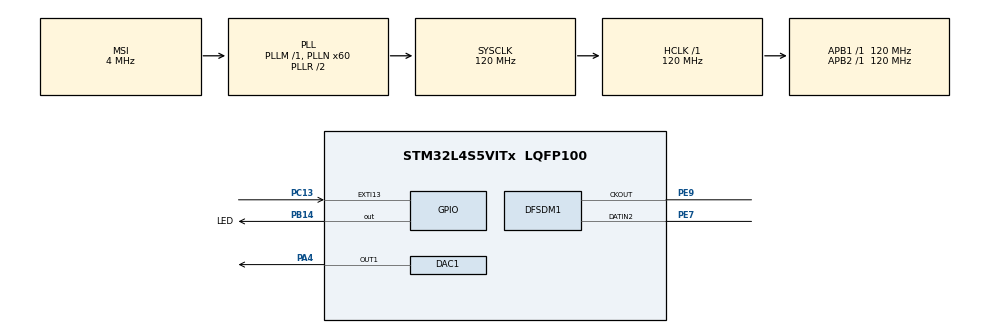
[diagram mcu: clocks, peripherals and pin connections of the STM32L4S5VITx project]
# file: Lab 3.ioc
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DAC1.DAC_Trigger-DAC_OUT1_ExtAndInt=DAC_TRIGGER_T2_TRGO
DFSDM1.Divider=40
DFSDM1.DmaMode_reg_FIL0=ENABLE
DFSDM1.FastMode_reg_FIL0=ENABLE
DFSDM1.Filter_regChannel_FIL0=DFSDM_CHANNEL_2
DFSDM1.Fosr_FIL0=256
DFSDM1.SincOrder_FIL0=DFSDM_FILTER_SINC3_ORDER
Dma.DAC1_CH1.0.Direction=DMA_MEMORY_TO_PERIPH
Dma.DAC1_CH1.0.EventEnable=DISABLE
Dma.DAC1_CH1.0.Instance=DMA1_Channel1
Dma.DAC1_CH1.0.MemDataAlignment=DMA_MDATAALIGN_WORD
Dma.DAC1_CH1.0.MemInc=DMA_MINC_ENABLE
Dma.DAC1_CH1.0.Mode=DMA_CIRCULAR
Dma.DAC1_CH1.0.PeriphDataAlignment=DMA_PDATAALIGN_HALFWORD
Dma.DAC1_CH1.0.PeriphInc=DMA_PINC_DISABLE
Dma.DAC1_CH1.0.Polarity=HAL_DMAMUX_REQUEST_GEN_RISING
Dma.DAC1_CH1.0.Priority=DMA_PRIORITY_LOW
Dma.DAC1_CH1.0.RequestNumber=1
Dma.DAC1_CH1.0.SignalID=NONE
Dma.DAC1_CH1.0.SyncEnable=DISABLE
Dma.DAC1_CH1.0.SyncPolarity=HAL_DMAMUX_SYNC_NO_EVENT
Dma.DAC1_CH1.0.SyncRequestNumber=1
Dma.DAC1_CH1.0.SyncSignalID=NONE
Dma.DFSDM1_FLT0.1.Direction=DMA_PERIPH_TO_MEMORY
Dma.DFSDM1_FLT0.1.EventEnable=DISABLE
Dma.DFSDM1_FLT0.1.Instance=DMA1_Channel2
Dma.DFSDM1_FLT0.1.MemDataAlignment=DMA_MDATAALIGN_WORD
Dma.DFSDM1_FLT0.1.MemInc=DMA_MINC_ENABLE
Dma.DFSDM1_FLT0.1.Mode=DMA_NORMAL
Dma.DFSDM1_FLT0.1.PeriphDataAlignment=DMA_PDATAALIGN_WORD
Dma.DFSDM1_FLT0.1.PeriphInc=DMA_PINC_DISABLE
Dma.DFSDM1_FLT0.1.Polarity=HAL_DMAMUX_REQUEST_GEN_RISING
Dma.DFSDM1_FLT0.1.Priority=DMA_PRIORITY_LOW
Dma.DFSDM1_FLT0.1.RequestNumber=1
Dma.DFSDM1_FLT0.1.SignalID=NONE
Dma.DFSDM1_FLT0.1.SyncEnable=DISABLE
Dma.DFSDM1_FLT0.1.SyncPolarity=HAL_DMAMUX_SYNC_NO_EVENT
Dma.DFSDM1_FLT0.1.SyncRequestNumber=1
Dma.DFSDM1_FLT0.1.SyncSignalID=NONE
Dma.Request0=DAC1_CH1
Dma.Request1=DFSDM1_FLT0
Mcu.Family=STM32L4
Mcu.Name=STM32L4S5VITx
Mcu.Package=LQFP100
NVIC.DMA1_Channel1_IRQn=true\:0\:0\:false\:false\:true\:false\:true\:true
NVIC.DMA1_Channel2_IRQn=true\:0\:0\:false\:false\:true\:false\:true\:true
NVIC.EXTI15_10_IRQn=true\:0\:0\:false\:false\:true\:true\:true\:true
NVIC.PriorityGroup=NVIC_PRIORITYGROUP_4
NVIC.TIM2_IRQn=true\:0\:0\:false\:false\:true\:true\:true\:true
PA4.Signal=COMP_DAC11_group
PB14.GPIO_Label=LED
PB14.Signal=GPIO_Output
PC13.Signal=GPXTI13
PE7.Signal=S_DATAIN2DFSDM1
PE9.Signal=S_CKOUTDFSDM1
ProjectManager.HeapSize=0x200
ProjectManager.StackSize=0x400
ProjectManager.TargetToolchain=STM32CubeIDE
RCC.ADCFreq_Value=48000000
RCC.AHBFreq_Value=120000000
RCC.APB1Freq_Value=120000000
RCC.APB1TimFreq_Value=120000000
RCC.APB2Freq_Value=120000000
RCC.APB2TimFreq_Value=120000000
RCC.CortexFreq_Value=120000000
RCC.HCLKFreq_Value=120000000
RCC.HSE_VALUE=8000000
RCC.HSI48_VALUE=48000000
RCC.HSI_VALUE=16000000
RCC.MSI_VALUE=4000000
RCC.PLLN=60
RCC.PLLSAI1N=24
RCC.SYSCLKFreq_VALUE=120000000
RCC.SYSCLKSource=RCC_SYSCLKSOURCE_PLLCLK
RCC.USBFreq_Value=48000000
RCC.VCOOutputFreq_Value=240000000
SH.COMP_DAC11_group.0=DAC1_OUT1,DAC_OUT1_ExtAndInt
SH.S_CKOUTDFSDM1.0=DFSDM1_CKOUT,PDM_SPI_input_from_ch2_and_internal_clock
SH.S_CKOUTDFSDM1.1=DFSDM1_CKOUT,CKOUT
SH.S_DATAIN2DFSDM1.0=DFSDM1_DATIN2,PDM_SPI_input_from_ch2_and_internal_clock
TIM2.Period=1813
TIM2.TIM_MasterOutputTrigger=TIM_TRGO_UPDATE
VP_TIM2_VS_ClockSourceINT.Mode=Internal
board=B-L4S5I-IOT01A

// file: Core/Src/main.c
/* USER CODE BEGIN Header */
/**
  ******************************************************************************
  * @file           : main.c
  * @brief          : Main program body
  ******************************************************************************
  * @attention
  *
  * Copyright (c) 2026 STMicroelectronics.
  * All rights reserved.
  *
  * This software is licensed under terms that can be found in the LICENSE file
  * in the root directory of this software component.
  * If no LICENSE file comes with this software, it is provided AS-IS.
  *
  ******************************************************************************
  */
/* USER CODE END Header */
#include "main.h"

/* USER CODE BEGIN Includes */
#include <math.h>
#include <stdint.h>
/* USER CODE END Includes */

/* USER CODE BEGIN PTD */
typedef enum {
  APP_IDLE = 0,
  APP_RECORDING,
  APP_READY,
  APP_PLAYBACK
} app_state_t;
/* USER CODE END PTD */

/* USER CODE BEGIN PD */
#define DAC_MAX_12B         4095U
#define DAC_MID_12B         2048U

/* Test tone (set to 0 to disable) */
#define TEST_TONE_ENABLE    0
#define TEST_TONE_FS_HZ     16000U
#define TEST_TONE_FREQ_HZ   1000U
#define TEST_TONE_SAMPLES   256U
#define TEST_TONE_CYCLES    ((TEST_TONE_FREQ_HZ * TEST_TONE_SAMPLES) / TEST_TONE_FS_HZ)

/* Recording buffer length:
 * Choose a value that fits in SRAM.
 * Each sample uses:
 *   mic_raw: 4 bytes
 *   dac_buf: 4 bytes (uint32_t for Word DMA)
 * Total bytes ≈ AUDIO_BUF_LEN * 8
 *
 * Example AUDIO_BUF_LEN=16000 -> ~128 kB total.
 */
#define AUDIO_BUF_LEN       16000U

#define LED_BLINK_MS        150U
#define BTN_DEBOUNCE_MS     200U

/* DFSDM data format:
 * 32-bit word where top 24 bits = signed audio, low 8 bits = channel info
 */
#define DFSDM_SHIFT_DISCARD_LSB  8
#define DFSDM_24B_FULL_SCALE     8388608   /* 2^23 */

/* Part 4: note playback settings */
#define NOTE_COUNT           6U
#define NOTE_MS              300U
#define NOTE_GAP_MS          80U
#define SEQ_MAX_NOTE_SAMPLES 5000U
#define SEQ_MAX_GAP_SAMPLES  2000U
#define SEQ_MAX_SAMPLES      (AUDIO_BUF_LEN + (NOTE_COUNT * (SEQ_MAX_NOTE_SAMPLES + SEQ_MAX_GAP_SAMPLES)))

/* USER CODE END PD */

DAC_HandleTypeDef hdac1;
DMA_HandleTypeDef hdma_dac1_ch1;

DFSDM_Filter_HandleTypeDef hdfsdm1_filter0;
DFSDM_Channel_HandleTypeDef hdfsdm1_channel2;
DMA_HandleTypeDef hdma_dfsdm1_flt0;

TIM_HandleTypeDef htim2;

/* USER CODE BEGIN PV */
/* Part 3 buffers */
static int32_t  g_mic_raw[AUDIO_BUF_LEN];     /* DFSDM DMA writes 32-bit samples here */
static uint32_t g_dac_buf[AUDIO_BUF_LEN];     /* DAC DMA reads 32-bit words (lower 12 bits used) */

/* App control/state */
static volatile app_state_t g_state = APP_IDLE;
static volatile uint8_t g_btn_event = 0;
static volatile uint8_t g_record_done = 0;

static uint32_t g_last_btn_ms = 0;
static uint32_t g_last_blink_ms = 0;

#if TEST_TONE_ENABLE
static uint32_t g_tone_buf[TEST_TONE_SAMPLES];
#endif

/* Part 4 sequence buffer: notes + recorded sample */
static uint32_t g_seq_buf[SEQ_MAX_SAMPLES];
static uint32_t g_seq_len = 0;
static volatile uint32_t g_seq_idx = 0;
static volatile uint8_t g_seq_active = 0;
static const float g_note_freqs[NOTE_COUNT] = {
  523.25f, /* C5 */
  261.63f, /* C4 */
  659.25f, /* E5 */
  392.00f, /* G4 */
  783.99f, /* G5 */
  329.63f  /* E4 */
};
/* USER CODE END PV */

void SystemClock_Config(void);
static void MX_GPIO_Init(void);
static void MX_DMA_Init(void);
static void MX_DAC1_Init(void);
static void MX_TIM2_Init(void);
static void MX_DFSDM1_Init(void);
/* USER CODE BEGIN PFP */
static uint32_t TIM2_GetClockHz(void);
static uint32_t DFSDM_GetSampleRateHz(void);
static void TIM2_SetSampleRateHz(uint32_t fs_hz);

#if TEST_TONE_ENABLE
static void GenerateTestTone(void);
static void StartTestTone(void);
#endif

static void StartRecording(void);
static void ProcessMicToDacBuffer(void);
static void StartPlayback(void);
static void StopPlayback(void);
static void BuildSequenceBuffer(uint32_t fs_hz);
static void StartSequencePlayback(uint32_t fs_hz);
/* USER CODE END PFP */

/* USER CODE BEGIN 0 */
/* TIM2 is on APB1. If APB1 prescaler != 1, timer clock = 2*PCLK1. */
static uint32_t TIM2_GetClockHz(void)
{
  uint32_t pclk1 = HAL_RCC_GetPCLK1Freq();
  uint32_t ppre1 = (RCC->CFGR & RCC_CFGR_PPRE1) >> RCC_CFGR_PPRE1_Pos;

  if (ppre1 < 4U) {
    return pclk1;
  } else {
    return 2U * pclk1;
  }
}

/* DFSDM sampling rate (approx):
 * fs = (SYSCLK / OutputClockDivider) / FOSR
 * You configured:
 *   OutputClock.Selection = SYSTEM
 *   Divider = hdfsdm1_channel2.Init.OutputClock.Divider (e.g., 40)
 *   FOSR = hdfsdm1_filter0.Init.FilterParam.Oversampling (e.g., 40)
 */
static uint32_t DFSDM_GetSampleRateHz(void)
{
  uint32_t sysclk = HAL_RCC_GetSysClockFreq();
  uint32_t div    = (uint32_t)hdfsdm1_channel2.Init.OutputClock.Divider;
  uint32_t fosr   = (uint32_t)hdfsdm1_filter0.Init.FilterParam.Oversampling;

  if (div == 0U)  div = 1U;
  if (fosr == 0U) fosr = 1U;

  return (sysclk / (div * fosr));
}

/* Update TIM2 so its update/TRGO frequency matches fs_hz */
static void TIM2_SetSampleRateHz(uint32_t fs_hz)
{
  if (fs_hz == 0U) return;

  uint32_t timclk = TIM2_GetClockHz();
  uint32_t psc    = (uint32_t)htim2.Init.Prescaler + 1U;

  /* ARR = timclk/(psc*fs) - 1 */
  uint64_t denom = (uint64_t)psc * (uint64_t)fs_hz;
  if (denom == 0ULL) return;

  uint64_t arr64 = ((uint64_t)timclk / denom);
  if (arr64 == 0ULL) arr64 = 1ULL;

  uint32_t arr = (uint32_t)arr64 - 1U;

  /* Apply safely */
  __HAL_TIM_DISABLE(&htim2);
  __HAL_TIM_SET_AUTORELOAD(&htim2, arr);
  __HAL_TIM_SET_COUNTER(&htim2, 0U);
  __HAL_TIM_ENABLE(&htim2);
}

#if TEST_TONE_ENABLE
static void GenerateTestTone(void)
{
  /* ~2/3 full-scale to reduce clipping into speaker load */
  const float amp = 1365.0f; /* approx 2/3 of 2047 */
  const float two_pi = 6.283185307f;

  for (uint32_t i = 0; i < TEST_TONE_SAMPLES; i++)
  {
    float phase = two_pi * (float)TEST_TONE_CYCLES * (float)i / (float)TEST_TONE_SAMPLES;
    float s = sinf(phase);
    int32_t y = (int32_t)DAC_MID_12B + (int32_t)(s * amp);
    if (y < 0) y = 0;
    if (y > (int32_t)DAC_MAX_12B) y = (int32_t)DAC_MAX_12B;
    g_tone_buf[i] = (uint32_t)(y & 0x0FFF);
  }
}

static void StartTestTone(void)
{
  TIM2_SetSampleRateHz(TEST_TONE_FS_HZ);

  /* LED solid ON during playback */
  HAL_GPIO_WritePin(LED_GPIO_Port, LED_Pin, GPIO_PIN_SET);

  (void)HAL_DAC_Stop_DMA(&hdac1, DAC_CHANNEL_1);

  if (HAL_DAC_Start_DMA(&hdac1,
                        DAC_CHANNEL_1,
                        g_tone_buf,
                        TEST_TONE_SAMPLES,
                        DAC_ALIGN_12B_R) != HAL_OK)
  {
    Error_Handler();
  }

  if (HAL_TIM_Base_Start(&htim2) != HAL_OK)
  {
    Error_Handler();
  }

  g_state = APP_PLAYBACK;
}
#endif

static void BuildSequenceBuffer(uint32_t fs_hz)
{
  if (fs_hz == 0U)
  {
    g_seq_len = 0;
    return;
  }

  uint32_t note_samples = (fs_hz * NOTE_MS) / 1000U;
  uint32_t gap_samples = (fs_hz * NOTE_GAP_MS) / 1000U;
  if (note_samples == 0U)
  {
    note_samples = 1U;
  }
  if (gap_samples == 0U)
  {
    gap_samples = 1U;
  }

  uint32_t total_needed = ((note_samples + gap_samples) * NOTE_COUNT) - gap_samples + AUDIO_BUF_LEN;
  if (total_needed > SEQ_MAX_SAMPLES)
  {
    uint32_t max_per_note = (SEQ_MAX_SAMPLES - AUDIO_BUF_LEN) / NOTE_COUNT;
    if (max_per_note == 0U)
    {
      max_per_note = 1U;
    }
    if (max_per_note <= gap_samples)
    {
      gap_samples = max_per_note / 4U;
      if (gap_samples == 0U) gap_samples = 1U;
    }
    note_samples = max_per_note - gap_samples;
    if (note_samples == 0U) note_samples = 1U;
    total_needed = ((note_samples + gap_samples) * NOTE_COUNT) - gap_samples + AUDIO_BUF_LEN;
  }

  const float amp = 1365.0f; /* ~2/3 full-scale to reduce clipping */
  const float two_pi = 6.283185307f;

  uint32_t idx = 0;
  for (uint32_t n = 0; n < NOTE_COUNT; n++)
  {
    float freq = g_note_freqs[n];
    for (uint32_t i = 0; i < note_samples; i++)
    {
      float phase = two_pi * freq * ((float)i / (float)fs_hz);
      float s = sinf(phase);
      int32_t y = (int32_t)DAC_MID_12B + (int32_t)(s * amp);
      if (y < 0) y = 0;
      if (y > (int32_t)DAC_MAX_12B) y = (int32_t)DAC_MAX_12B;
      g_seq_buf[idx++] = (uint32_t)(y & 0x0FFF);
    }
    if (n < (NOTE_COUNT - 1U))
    {
      for (uint32_t i = 0; i < gap_samples; i++)
      {
        g_seq_buf[idx++] = (uint32_t)DAC_MID_12B;
      }
    }
  }

  /* Append recorded sample */
  for (uint32_t i = 0; i < AUDIO_BUF_LEN; i++)
  {
    g_seq_buf[idx++] = g_dac_buf[i] & 0x0FFF;
  }

  g_seq_len = idx;
}

static void StartSequencePlayback(uint32_t fs_hz)
{
  if ((g_seq_len == 0U) || (fs_hz == 0U))
  {
    return;
  }

  g_seq_idx = 0;
  g_seq_active = 1;

  TIM2_SetSampleRateHz(fs_hz);

  /* LED solid ON during playback */
  HAL_GPIO_WritePin(LED_GPIO_Port, LED_Pin, GPIO_PIN_SET);

  (void)HAL_DAC_Stop_DMA(&hdac1, DAC_CHANNEL_1);

  if (HAL_DAC_Start_DMA(&hdac1,
                        DAC_CHANNEL_1,
                        g_seq_buf,
                        g_seq_len,
                        DAC_ALIGN_12B_R) != HAL_OK)
  {
    Error_Handler();
  }

  if (HAL_TIM_Base_Start_IT(&htim2) != HAL_OK)
  {
    Error_Handler();
  }

  g_state = APP_PLAYBACK;
}

/* Button interrupt: do NOT toggle LED here in Part 3.
 * Just post an event (with debounce), handle in main loop/state machine.
 */
void HAL_GPIO_EXTI_Callback(uint16_t GPIO_Pin)
{
  if (GPIO_Pin == GPIO_PIN_13)
  {
    uint32_t now = HAL_GetTick();
    if ((now - g_last_btn_ms) > BTN_DEBOUNCE_MS)
    {
      g_last_btn_ms = now;
      g_btn_event = 1;
    }
  }
}

void HAL_TIM_PeriodElapsedCallback(TIM_HandleTypeDef *htim)
{
  if ((htim->Instance == TIM2) && g_seq_active)
  {
    g_seq_idx++;
    if (g_seq_idx >= g_seq_len)
    {
      g_seq_active = 0;
      (void)HAL_DAC_Stop_DMA(&hdac1, DAC_CHANNEL_1);
      (void)HAL_TIM_Base_Stop_IT(&htim2);
      HAL_GPIO_WritePin(LED_GPIO_Port, LED_Pin, GPIO_PIN_RESET);
      g_state = APP_IDLE;
    }
  }
}

/* DFSDM: record buffer complete callback */
void HAL_DFSDM_FilterRegConvCpltCallback(DFSDM_Filter_HandleTypeDef *hdfsdm_filter)
{
  if (hdfsdm_filter->Instance == DFSDM1_Filter0)
  {
    g_record_done = 1;
  }
}

/* Start recording: DFSDM -> DMA -> g_mic_raw[] */
static void StartRecording(void)
{
  /* Stop playback if we were playing */
  StopPlayback();

  g_record_done = 0;
  g_state = APP_RECORDING;

  /* Start blinking LED */
  g_last_blink_ms = HAL_GetTick();
  HAL_GPIO_WritePin(LED_GPIO_Port, LED_Pin, GPIO_PIN_RESET);

  /* Ensure DFSDM DMA is stopped before restarting */
  (void)HAL_DFSDM_FilterRegularStop_DMA(&hdfsdm1_filter0);

  if (HAL_DFSDM_FilterRegularStart_DMA(&hdfsdm1_filter0, g_mic_raw, AUDIO_BUF_LEN) != HAL_OK)
  {
    Error_Handler();
  }
}

/* Convert DFSDM 32-bit samples -> 12-bit unsigned DAC samples
 * - Discard low 8 bits (channel info)
 * - Signed 24-bit audio remains
 * - Map to 0..4095
 */
static void ProcessMicToDacBuffer(void)
{
  int32_t maxAbs = 0;

  // 1) Find max amplitude in the captured buffer
  for (uint32_t i = 0; i < AUDIO_BUF_LEN; i++)
  {
    int32_t x = (g_mic_raw[i] >> DFSDM_SHIFT_DISCARD_LSB);  // signed
    int32_t a = (x < 0) ? -x : x;
    if (a > maxAbs) maxAbs = a;
  }

  // Avoid divide-by-zero and avoid crazy gain when signal is tiny
  if (maxAbs < 1000) maxAbs = 1000;

  // 2) Normalize to DAC range
  for (uint32_t i = 0; i < AUDIO_BUF_LEN; i++)
  {
    int32_t x = (g_mic_raw[i] >> DFSDM_SHIFT_DISCARD_LSB);

    // scale x to roughly [-2047, +2047]
    int32_t scaled = (int32_t)(((int64_t)x * 2047) / maxAbs);

    int32_t y = (int32_t)DAC_MID_12B + scaled;
    if (y < 0) y = 0;
    if (y > (int32_t)DAC_MAX_12B) y = (int32_t)DAC_MAX_12B;

    g_dac_buf[i] = (uint32_t)(y & 0x0FFF);
  }
}

/* Start playback: DAC DMA paced by TIM2 TRGO */
static void StartPlayback(void)
{
  /* Stop recording DMA (Normal mode would already stop, but safe) */
  (void)HAL_DFSDM_FilterRegularStop_DMA(&hdfsdm1_filter0);

  /* Match TIM2 sample rate to DFSDM sample rate */
  uint32_t fs = DFSDM_GetSampleRateHz();
  TIM2_SetSampleRateHz(fs);

  /* LED solid ON during playback */
  HAL_GPIO_WritePin(LED_GPIO_Port, LED_Pin, GPIO_PIN_SET);

  /* Start DAC DMA from recorded audio buffer.
   * IMPORTANT: Your DAC DMA should be configured as CIRCULAR if you want continuous looping
   * until next button press (as the lab requests).
   */
  (void)HAL_DAC_Stop_DMA(&hdac1, DAC_CHANNEL_1);

  if (HAL_DAC_Start_DMA(&hdac1,
                        DAC_CHANNEL_1,
                        g_dac_buf,
                        AUDIO_BUF_LEN,
                        DAC_ALIGN_12B_R) != HAL_OK)
  {
    Error_Handler();
  }

  if (HAL_TIM_Base_Start(&htim2) != HAL_OK)
  {
    Error_Handler();
  }

  g_state = APP_PLAYBACK;
}

/* Stop playback: stop DAC DMA and timer, LED off (unless recording blinking) */
static void StopPlayback(void)
{
  if (g_state == APP_PLAYBACK)
  {
    (void)HAL_DAC_Stop_DMA(&hdac1, DAC_CHANNEL_1);
    (void)HAL_TIM_Base_Stop_IT(&htim2);
    g_seq_active = 0;

    /* If we're not immediately going to recording, turn LED off */
    HAL_GPIO_WritePin(LED_GPIO_Port, LED_Pin, GPIO_PIN_RESET);
    g_state = APP_IDLE;
  }
}
/* USER CODE END 0 */

int main(void)
{

  /* MCU Configuration--------------------------------------------------------*/

  /* Reset of all peripherals, Initializes the Flash interface and the Systick. */
  HAL_Init();

  /* Configure the system clock */
  SystemClock_Config();

  /* Initialize all configured peripherals */
  MX_GPIO_Init();
  MX_DMA_Init();
  MX_DAC1_Init();
  MX_TIM2_Init();
  MX_DFSDM1_Init();
  /* USER CODE BEGIN 2 */
  /* Start in IDLE with LED off */
    HAL_GPIO_WritePin(LED_GPIO_Port, LED_Pin, GPIO_PIN_RESET);
    g_state = APP_IDLE;

#if TEST_TONE_ENABLE
    GenerateTestTone();
    StartTestTone();
#endif
  /* USER CODE END 2 */

  /* Infinite loop */
  /* USER CODE BEGIN WHILE */
  while (1)
  {
	  /* Handle button press event */
	  if (g_btn_event)
	  {
	    g_btn_event = 0;

	    if (g_state == APP_PLAYBACK)
	    {
	      /* Button during playback => stop and start a new recording */
	      StopPlayback();
	      StartRecording();
	    }
	    else if (g_state == APP_READY)
	    {
	      /* Play 6 notes + recorded sample */
	      uint32_t fs = DFSDM_GetSampleRateHz();
	      BuildSequenceBuffer(fs);
	      StartSequencePlayback(fs);
	    }
	    else
	    {
	      /* Button in IDLE or RECORDING => (re)start recording */
	      StartRecording();
	    }
	  }

	  /* Blink LED during recording */
	  if (g_state == APP_RECORDING)
	  {
	    uint32_t now = HAL_GetTick();
	    if ((now - g_last_blink_ms) >= LED_BLINK_MS)
	    {
	      g_last_blink_ms = now;
	      HAL_GPIO_TogglePin(LED_GPIO_Port, LED_Pin);
	    }
	  }

	  /* When recording buffer is full: process and wait for play request */
	  if ((g_state == APP_RECORDING) && g_record_done)
	  {
	    g_record_done = 0;

	    /* Stop recording DMA */
	    (void)HAL_DFSDM_FilterRegularStop_DMA(&hdfsdm1_filter0);

	    /* Convert mic data -> DAC format */
	    ProcessMicToDacBuffer();

	    /* Ready to play sequence on next button press */
	    g_state = APP_READY;
	    HAL_GPIO_WritePin(LED_GPIO_Port, LED_Pin, GPIO_PIN_RESET);
	  }
    /* USER CODE END WHILE */

  }
}

void SystemClock_Config(void)
{
  RCC_OscInitTypeDef RCC_OscInitStruct = {0};
  RCC_ClkInitTypeDef RCC_ClkInitStruct = {0};

  /** Configure the main internal regulator output voltage
  */
  if (HAL_PWREx_ControlVoltageScaling(PWR_REGULATOR_VOLTAGE_SCALE1_BOOST) != HAL_OK)
  {
    Error_Handler();
  }

  /** Initializes the RCC Oscillators according to the specified parameters
  * in the RCC_OscInitTypeDef structure.
  */
  RCC_OscInitStruct.OscillatorType = RCC_OSCILLATORTYPE_MSI;
  RCC_OscInitStruct.MSIState = RCC_MSI_ON;
  RCC_OscInitStruct.MSICalibrationValue = 0;
  RCC_OscInitStruct.MSIClockRange = RCC_MSIRANGE_6;
  RCC_OscInitStruct.PLL.PLLState = RCC_PLL_ON;
  RCC_OscInitStruct.PLL.PLLSource = RCC_PLLSOURCE_MSI;
  RCC_OscInitStruct.PLL.PLLM = 1;
  RCC_OscInitStruct.PLL.PLLN = 60;
  RCC_OscInitStruct.PLL.PLLP = RCC_PLLP_DIV2;
  RCC_OscInitStruct.PLL.PLLQ = RCC_PLLQ_DIV2;
  RCC_OscInitStruct.PLL.PLLR = RCC_PLLR_DIV2;
  if (HAL_RCC_OscConfig(&RCC_OscInitStruct) != HAL_OK)
  {
    Error_Handler();
  }

  /** Initializes the CPU, AHB and APB buses clocks
  */
  RCC_ClkInitStruct.ClockType = RCC_CLOCKTYPE_HCLK|RCC_CLOCKTYPE_SYSCLK
                              |RCC_CLOCKTYPE_PCLK1|RCC_CLOCKTYPE_PCLK2;
  RCC_ClkInitStruct.SYSCLKSource = RCC_SYSCLKSOURCE_PLLCLK;
  RCC_ClkInitStruct.AHBCLKDivider = RCC_SYSCLK_DIV1;
  RCC_ClkInitStruct.APB1CLKDivider = RCC_HCLK_DIV1;
  RCC_ClkInitStruct.APB2CLKDivider = RCC_HCLK_DIV1;

  if (HAL_RCC_ClockConfig(&RCC_ClkInitStruct, FLASH_LATENCY_5) != HAL_OK)
  {
    Error_Handler();
  }
}

static void MX_DAC1_Init(void)
{

  DAC_ChannelConfTypeDef sConfig = {0};

  /** DAC Initialization
  */
  hdac1.Instance = DAC1;
  if (HAL_DAC_Init(&hdac1) != HAL_OK)
  {
    Error_Handler();
  }

  /** DAC channel OUT1 config
  */
  sConfig.DAC_SampleAndHold = DAC_SAMPLEANDHOLD_DISABLE;
  sConfig.DAC_Trigger = DAC_TRIGGER_T2_TRGO;
  sConfig.DAC_HighFrequency = DAC_HIGH_FREQUENCY_INTERFACE_MODE_ABOVE_80MHZ;
  sConfig.DAC_OutputBuffer = DAC_OUTPUTBUFFER_ENABLE;
  sConfig.DAC_ConnectOnChipPeripheral = DAC_CHIPCONNECT_ENABLE;
  sConfig.DAC_UserTrimming = DAC_TRIMMING_FACTORY;
  if (HAL_DAC_ConfigChannel(&hdac1, &sConfig, DAC_CHANNEL_1) != HAL_OK)
  {
    Error_Handler();
  }

}

static void MX_DFSDM1_Init(void)
{

  hdfsdm1_filter0.Instance = DFSDM1_Filter0;
  hdfsdm1_filter0.Init.RegularParam.Trigger = DFSDM_FILTER_SW_TRIGGER;
  hdfsdm1_filter0.Init.RegularParam.FastMode = ENABLE;
  hdfsdm1_filter0.Init.RegularParam.DmaMode = ENABLE;
  hdfsdm1_filter0.Init.FilterParam.SincOrder = DFSDM_FILTER_SINC3_ORDER;
  hdfsdm1_filter0.Init.FilterParam.Oversampling = 256;
  hdfsdm1_filter0.Init.FilterParam.IntOversampling = 1;
  if (HAL_DFSDM_FilterInit(&hdfsdm1_filter0) != HAL_OK)
  {
    Error_Handler();
  }
  hdfsdm1_channel2.Instance = DFSDM1_Channel2;
  hdfsdm1_channel2.Init.OutputClock.Activation = ENABLE;
  hdfsdm1_channel2.Init.OutputClock.Selection = DFSDM_CHANNEL_OUTPUT_CLOCK_SYSTEM;
  hdfsdm1_channel2.Init.OutputClock.Divider = 40;
  hdfsdm1_channel2.Init.Input.Multiplexer = DFSDM_CHANNEL_EXTERNAL_INPUTS;
  hdfsdm1_channel2.Init.Input.DataPacking = DFSDM_CHANNEL_STANDARD_MODE;
  hdfsdm1_channel2.Init.Input.Pins = DFSDM_CHANNEL_SAME_CHANNEL_PINS;
  hdfsdm1_channel2.Init.SerialInterface.Type = DFSDM_CHANNEL_SPI_RISING;
  hdfsdm1_channel2.Init.SerialInterface.SpiClock = DFSDM_CHANNEL_SPI_CLOCK_INTERNAL;
  hdfsdm1_channel2.Init.Awd.FilterOrder = DFSDM_CHANNEL_FASTSINC_ORDER;
  hdfsdm1_channel2.Init.Awd.Oversampling = 1;
  hdfsdm1_channel2.Init.Offset = 0;
  hdfsdm1_channel2.Init.RightBitShift = 0x00;
  if (HAL_DFSDM_ChannelInit(&hdfsdm1_channel2) != HAL_OK)
  {
    Error_Handler();
  }
  if (HAL_DFSDM_FilterConfigRegChannel(&hdfsdm1_filter0, DFSDM_CHANNEL_2, DFSDM_CONTINUOUS_CONV_ON) != HAL_OK)
  {
    Error_Handler();
  }

}

static void MX_TIM2_Init(void)
{

  TIM_ClockConfigTypeDef sClockSourceConfig = {0};
  TIM_MasterConfigTypeDef sMasterConfig = {0};

  htim2.Instance = TIM2;
  htim2.Init.Prescaler = 0;
  htim2.Init.CounterMode = TIM_COUNTERMODE_UP;
  htim2.Init.Period = 1813;
  htim2.Init.ClockDivision = TIM_CLOCKDIVISION_DIV1;
  htim2.Init.AutoReloadPreload = TIM_AUTORELOAD_PRELOAD_DISABLE;
  if (HAL_TIM_Base_Init(&htim2) != HAL_OK)
  {
    Error_Handler();
  }
  sClockSourceConfig.ClockSource = TIM_CLOCKSOURCE_INTERNAL;
  if (HAL_TIM_ConfigClockSource(&htim2, &sClockSourceConfig) != HAL_OK)
  {
    Error_Handler();
  }
  sMasterConfig.MasterOutputTrigger = TIM_TRGO_UPDATE;
  sMasterConfig.MasterSlaveMode = TIM_MASTERSLAVEMODE_DISABLE;
  if (HAL_TIMEx_MasterConfigSynchronization(&htim2, &sMasterConfig) != HAL_OK)
  {
    Error_Handler();
  }

}

static void MX_DMA_Init(void)
{

  /* DMA controller clock enable */
  __HAL_RCC_DMAMUX1_CLK_ENABLE();
  __HAL_RCC_DMA1_CLK_ENABLE();

  /* DMA interrupt init */
  /* DMA1_Channel1_IRQn interrupt configuration */
  HAL_NVIC_SetPriority(DMA1_Channel1_IRQn, 0, 0);
  HAL_NVIC_EnableIRQ(DMA1_Channel1_IRQn);
  /* DMA1_Channel2_IRQn interrupt configuration */
  HAL_NVIC_SetPriority(DMA1_Channel2_IRQn, 0, 0);
  HAL_NVIC_EnableIRQ(DMA1_Channel2_IRQn);

}

static void MX_GPIO_Init(void)
{
  GPIO_InitTypeDef GPIO_InitStruct = {0};

  /* GPIO Ports Clock Enable */
  __HAL_RCC_GPIOC_CLK_ENABLE();
  __HAL_RCC_GPIOA_CLK_ENABLE();
  __HAL_RCC_GPIOE_CLK_ENABLE();
  __HAL_RCC_GPIOB_CLK_ENABLE();

  /*Configure GPIO pin Output Level */
  HAL_GPIO_WritePin(LED_GPIO_Port, LED_Pin, GPIO_PIN_RESET);

  /*Configure GPIO pin : PC13 */
  GPIO_InitStruct.Pin = GPIO_PIN_13;
  GPIO_InitStruct.Mode = GPIO_MODE_IT_RISING;
  GPIO_InitStruct.Pull = GPIO_NOPULL;
  HAL_GPIO_Init(GPIOC, &GPIO_InitStruct);

  /*Configure GPIO pin : LED_Pin */
  GPIO_InitStruct.Pin = LED_Pin;
  GPIO_InitStruct.Mode = GPIO_MODE_OUTPUT_PP;
  GPIO_InitStruct.Pull = GPIO_NOPULL;
  GPIO_InitStruct.Speed = GPIO_SPEED_FREQ_LOW;
  HAL_GPIO_Init(LED_GPIO_Port, &GPIO_InitStruct);

  /* EXTI interrupt init*/
  HAL_NVIC_SetPriority(EXTI15_10_IRQn, 0, 0);
  HAL_NVIC_EnableIRQ(EXTI15_10_IRQn);

}

void Error_Handler(void)
{
  __disable_irq();
  while (1)
  {
  }
}
